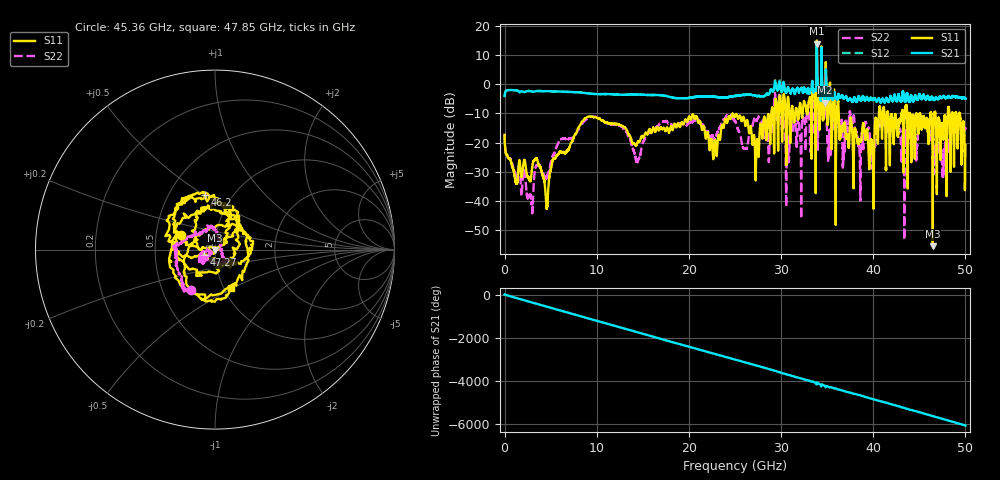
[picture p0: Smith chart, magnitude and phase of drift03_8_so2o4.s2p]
!Created with skrf (http://scikit-rf.org).
# Hz S RI R 50.0
!freq ReS11 ImS11 ReS21 ImS21 ReS12 ImS12 ReS22 ImS22
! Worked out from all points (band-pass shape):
!   10001 points, 300 kHz to 50 GHz, reference 50 ohm
!   highest |S21| = 13.98 dB at 33.88 GHz (marker M1); lowest = -6.4 dB at 34.8 GHz (marker M2)
!   |S21| within 3 dB of the highest: 33.86992 GHz to 33.88907 GHz (19.15 MHz wide, 0.0565 % of centre); 34.37701 GHz to 34.39061 GHz (13.6 MHz wide, 0.0395 % of centre)
!   lowest |S11| = -55.6 dB at 46.46 GHz (marker M3), VSWR 1.00, Z = 50 - j0.162 ohm
!   |S11| at or under -10 dB: start of sweep to 28.94 GHz; 36.26 GHz to 40.61 GHz (4.353 GHz wide, 11.3 % of centre); 41.6 GHz to 43.11 GHz (1.504 GHz wide, 3.55 % of centre) (the widest 3 of 52)
!   |S22| runs from -53.4 to 10.4 dB; largest |S21 - S12| = 0.8
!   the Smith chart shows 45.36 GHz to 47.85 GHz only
!   S11 on the Smith chart (normalised r, x): 45.36 GHz: 0.67, +0.12; 46.2 GHz: 0.75, +0.50; 47.27 GHz: 0.88, -0.06; 47.85 GHz: 1.08, -0.49
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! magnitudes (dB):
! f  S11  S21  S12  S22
! 300 kHz  -17.4  -4.0  -4.1  -17.1
! 2.85 GHz  -32.3  -2.4  -2.4  -38.2
! 4.585 GHz  -41.8  -2.3  -2.3  -32.0
! 8.335 GHz  -13.1  -2.8  -2.8  -13.9
! 14.43 GHz  -20.0  -3.5  -3.5  -26.6
! 16.67 GHz  -15.5  -3.7  -3.7  -14.3
! 22.82 GHz  -19.3  -4.3  -4.3  -19.0
! 25 GHz  -11.0  -4.0  -4.0  -12.6
! 27.39 GHz  -19.3  -4.1  -4.1  -12.4
! 29.6 GHz  -10.4  -2.0  -2.1  -11.7
! 30.7 GHz  -5.6  -1.4  -1.5  -17.2
! 33.34 GHz  -13.2  -0.5  -0.6  -7.4
! 33.88 GHz  15.0  14.0  13.7  10.4
! 34.8 GHz  -2.1  -6.4  -4.9  -8.8
! 39.81 GHz  -19.3  -5.0  -4.9  -24.2
! 41.67 GHz  -12.4  -6.1  -6.0  -15.1
! 45.36 GHz  -13.7  -4.5  -4.6  -11.6
! 46.2 GHz  -10.2  -5.3  -5.3  -18.2
! 46.46 GHz  -55.6  -4.8  -4.8  -20.5
! 47.27 GHz  -23.2  -4.3  -4.3  -20.1
! 47.85 GHz  -12.6  -4.7  -4.8  -20.5
! 50 GHz  -20.9  -4.9  -4.9  -15.1
